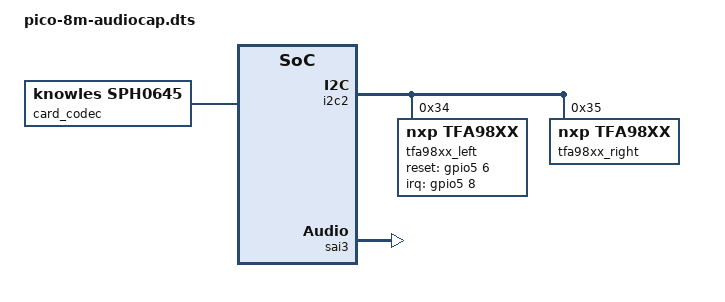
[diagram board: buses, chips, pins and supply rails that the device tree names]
/*
 * Copyright 2018 Technexion Ltd.
 * Copyright 2017 NXP
 *
 * Author: Richard Hu <richard.hu@technexion.com>
 *
 * This program is free software; you can redistribute it and/or
 * modify it under the terms of the GNU General Public License
 * as published by the Free Software Foundation; either version 2
 * of the License, or (at your option) any later version.
 *
 * This program is distributed in the hope that it will be useful,
 * but WITHOUT ANY WARRANTY; without even the implied warranty of
 * MERCHANTABILITY or FITNESS FOR A PARTICULAR PURPOSE.  See the
 * GNU General Public License for more details.
 */

#include "pico-8m.dts"

/ {
	sound-tfa9912 {
		compatible = "nxp,imx-audio-tfa98xx", "nxp,imx-tfa98xx";
		nxp,model = "TFA9912";
		cpu-dai = <&sai2>;
		ssi-controller = <&sai2>;
		nxp,audio-codec = <&tfa98xx_left &tfa98xx_right>;
		clocks = <&clk IMX8MQ_CLK_SAI2_DIV>;
		nxp,audio-routing =
			"Speaker", "OUTL",
			"DMIC1", "Mic",
			"DMIC2", "Mic",
			"DMIC3", "Mic",
			"DMIC4", "Mic";
	};

	card_codec: card-codec {
		#sound-dai-cells = <0>;
		compatible = "knowles,sph0645";
		status = "okay";
	};

	memsmic {
		compatible = "simple-audio-card";
		simple-audio-card,format = "msb";
		simple-audio-card,name = "mems-mic";
		status = "okay";
		simple-audio-card,cpu {
			sound-dai = <&sai3>;
		};
		dailink0_slave: simple-audio-card,codec {
			sound-dai = <&card_codec>;
			clocks = <&clk IMX8MQ_CLK_SAI3_DIV>;
		};
	};

	gpio-edm {
		pinctrl-0 = <&pinctrl_key_gpio>;

		key_prev {
			label = "KEY_PREV";
			gpios = <&gpio3 3 GPIO_ACTIVE_LOW>;
			dir   = "in";
		};
		key_play {
			label = "KEY_PLAY";
			gpios = <&gpio5 4 GPIO_ACTIVE_LOW>;
			dir   = "in";
		};
		key_next {
			label = "KEY_NEXT";
			gpios = <&gpio3 16 GPIO_ACTIVE_LOW>;
			dir   = "in";
		};
		key_up {
			label = "KEY_UP";
			gpios = <&gpio3 5 GPIO_ACTIVE_LOW>;
			dir   = "in";
		};
		key_down {
			label = "KEY_DOWN";
			gpios = <&gpio3 4 GPIO_ACTIVE_LOW>;
			dir   = "in";
		};
		key_mute {
			label = "KEY_MUTE";
			gpios = <&gpio3 0 GPIO_ACTIVE_LOW>;
			dir   = "in";
		};
		key_pair {
			label = "KEY_PAIR";
			gpios = <&gpio5 9 GPIO_ACTIVE_LOW>;
			dir   = "in";
		};
		key_act {
			label = "KEY_ACT";
			gpios = <&gpio5 3 GPIO_ACTIVE_LOW>;
			dir   = "in";
		};
	};
};

&iomuxc {
	pico-8m {
		pinctrl_tfa98xx: tfa98xx_ctrlgrp {
			fsl,pins = <
				MX8MQ_IOMUXC_ECSPI1_SCLK_GPIO5_IO6	0x19 /* RST */
				MX8MQ_IOMUXC_ECSPI1_MISO_GPIO5_IO8	0x19 /* INT */
			>;
		};

		pinctrl_sai3: sai3grp {
			fsl,pins = <
				MX8MQ_IOMUXC_SAI3_TXFS_SAI3_TX_SYNC	0xd6
				MX8MQ_IOMUXC_SAI3_TXC_SAI3_TX_BCLK	0xd6
				MX8MQ_IOMUXC_SAI3_RXD_SAI3_RX_DATA0	0xd6
			>;
		};

		pinctrl_key_gpio: key_ctrlgrp {
			fsl,pins = <
				MX8MQ_IOMUXC_NAND_CE2_B_GPIO3_IO3		0x41 /* KEY_PREV */
				MX8MQ_IOMUXC_SPDIF_RX_GPIO5_IO4			0x41 /* KEY_PLAY */
				MX8MQ_IOMUXC_NAND_READY_B_GPIO3_IO16		0x41 /* KEY_NEXT */
				MX8MQ_IOMUXC_NAND_CLE_GPIO3_IO5			0x41 /* KEY_UP */
				MX8MQ_IOMUXC_NAND_CE3_B_GPIO3_IO4		0x41 /* KEY_DOWN */
				MX8MQ_IOMUXC_NAND_ALE_GPIO3_IO0			0x41 /* KEY_MUTE */
				MX8MQ_IOMUXC_ECSPI1_SS0_GPIO5_IO9		0x41 /* KEY_PAIR */
				MX8MQ_IOMUXC_SPDIF_TX_GPIO5_IO3			0x41 /* KEY_ACT */
			>;
		};
	};
};

&i2c2 {
	tfa98xx_left: tfa98xx_left@34 {
		compatible = "nxp,tfa98xx";
		pinctrl-names = "default";
		pinctrl-0 = <&pinctrl_tfa98xx>;
		reg = <0x34>;
		reset-gpio = <&gpio5 6 GPIO_ACTIVE_HIGH>;
		irq-gpio = <&gpio5 8 GPIO_ACTIVE_HIGH>;
	};

	tfa98xx_right: tfa98xx_right@35 {
		compatible = "nxp,tfa98xx";
		reg = <0x35>;
	};
};

/* CSI_nRST pin conflicts with KEY_NEXT button */
&ov5645_mipi2 {
	status = "disabled";
};

&sai3 {
	#sound-dai-cells = <0>;
	pinctrl-names = "default";
	pinctrl-0 = <&pinctrl_sai3>;
	assigned-clocks = <&clk IMX8MQ_CLK_SAI3_SRC>,
			<&clk IMX8MQ_CLK_SAI3_ROOT>;
	assigned-clock-parents = <&clk IMX8MQ_AUDIO_PLL1_OUT>;
	assigned-clock-rates = <0>, <24576000>;
	status = "okay";
};
